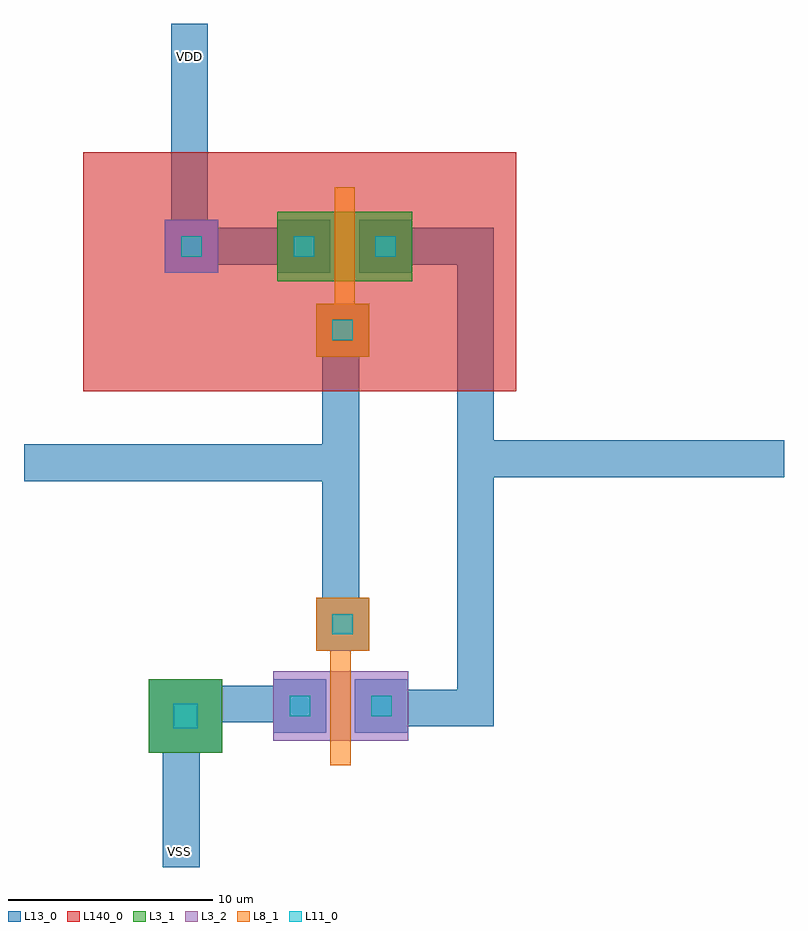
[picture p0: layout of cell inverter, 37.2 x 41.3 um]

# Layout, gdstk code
import gdstk
lib = gdstk.Library(unit=1e-6, precision=1e-07)
def R(c, l, rs):  # rectangles x0, y0, x1, y1
    for r in rs: c.add(gdstk.rectangle(r[:2], r[2:], *l))
L3_1 = (3, 1)
L3_2 = (3, 2)
L8_1 = (8, 1)
L11_0 = (11, 0)
L13_0 = (13, 0)
L140_0 = (140, 0)

fet_p = lib.new_cell('fet_p')
R(fet_p, L3_1, [(-3.3,-1.7,3.3,1.7)])
R(fet_p, L11_0, [(-2.5,-0.5,-1.5,0.5), (1.5,-0.5,2.5,0.5)])
R(fet_p, L13_0, [(-3.3,-1.3,-0.7,1.3), (0.7,-1.3,3.3,1.3)])
fet_p.add(gdstk.FlexPath([(0,-2.9),(0,2.9)], 1, ends="flush", simple_path=True, layer=8, datatype=1))  # L8_1

cont_n = lib.new_cell('cont_n')
R(cont_n, L3_2, [(-1.3,-1.3,1.3,1.3)])
R(cont_n, L11_0, [(-0.5,-0.5,0.5,0.5)])
R(cont_n, L13_0, [(-1.3,-1.3,1.3,1.3)])

cont_g = lib.new_cell('cont_g')
R(cont_g, L8_1, [(-1.3,-1.3,1.3,1.3)])
R(cont_g, L11_0, [(-0.5,-0.5,0.5,0.5)])
R(cont_g, L13_0, [(-1.3,-1.3,1.3,1.3)])

fet_n = lib.new_cell('fet_n')
R(fet_n, L3_2, [(-3.3,-1.7,3.3,1.7)])
R(fet_n, L11_0, [(-2.5,-0.5,-1.5,0.5), (1.5,-0.5,2.5,0.5)])
R(fet_n, L13_0, [(-3.3,-1.3,-0.7,1.3), (0.7,-1.3,3.3,1.3)])
fet_n.add(gdstk.FlexPath([(0,-2.9),(0,2.9)], 1, ends="flush", simple_path=True, layer=8, datatype=1))  # L8_1

diode_p = lib.new_cell('diode_p')
R(diode_p, L3_1, [(-1.8,-1.8,1.8,1.8)])
R(diode_p, L11_0, [(-0.6,-0.6,0.6,0.6)])
R(diode_p, L13_0, [(-1.8,-1.8,1.8,1.8)])

inverter = lib.new_cell('inverter')
R(inverter, L140_0, [(-12.5,-3.4,8.7,8.3)])
inverter.add(gdstk.FlexPath([(1.4,3.7),(6.7,3.7),(6.7,-18.9),(1,-18.9)], 1.8, ends="flush", simple_path=True, layer=13, datatype=0))  # L13_0
inverter.add(gdstk.FlexPath([(-1,3.7),(-7.3,3.7),(-7.3,14.6)], 1.8, ends="flush", simple_path=True, layer=13, datatype=0))  # L13_0
inverter.add(gdstk.FlexPath([(-1.4,-18.7),(-7.7,-18.7),(-7.7,-26.7)], 1.8, ends="flush", simple_path=True, layer=13, datatype=0))  # L13_0
inverter.add(gdstk.FlexPath([(0.1,0.2),(0.1,-15.6)], 1.8, ends="flush", simple_path=True, layer=13, datatype=0))  # L13_0
inverter.add(gdstk.FlexPath([(0.8,-6.9),(-15.4,-6.9)], 1.8, ends="flush", simple_path=True, layer=13, datatype=0))  # L13_0
inverter.add(gdstk.FlexPath([(6,-6.7),(21.8,-6.7)], 1.8, ends="flush", simple_path=True, layer=13, datatype=0))  # L13_0
inverter.add(gdstk.Reference(fet_p, (0.3,3.7)))
inverter.add(gdstk.Reference(cont_n, (-7.2,3.7)))
inverter.add(gdstk.Reference(cont_g, (0.2,-0.4)))
inverter.add(gdstk.Reference(fet_n, (0.1,-18.8)))
inverter.add(gdstk.Reference(cont_g, (0.2,-14.8)))
inverter.add(gdstk.Reference(diode_p, (-7.5,-19.3)))
inverter.add(gdstk.Label('VDD', (-7.3,13), layer=48, texttype=0))
inverter.add(gdstk.Label('VSS', (-7.8,-25.9), layer=48, texttype=0))

lib.write_gds('inverter.gds')
